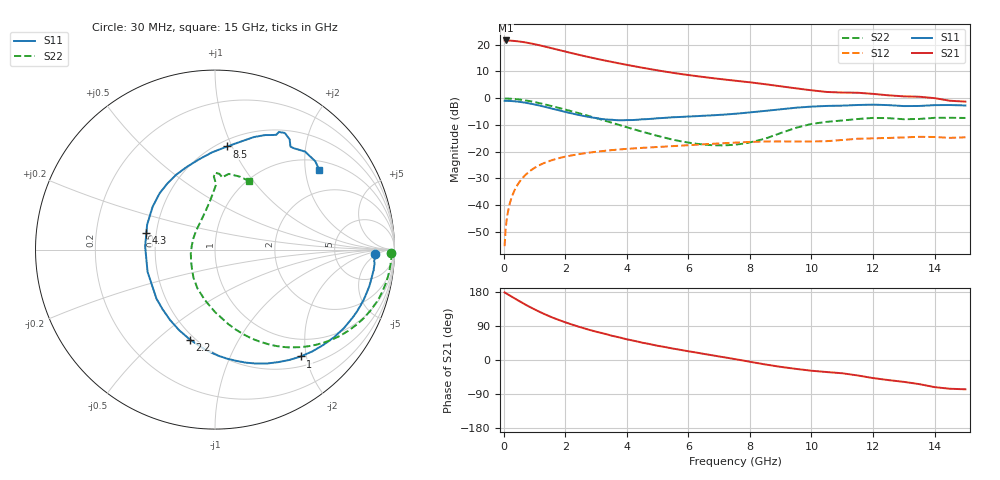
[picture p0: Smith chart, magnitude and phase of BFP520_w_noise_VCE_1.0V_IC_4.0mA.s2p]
! Infineon Technologies  Discrete & RF Semiconductors
! BFP520
! VCE =  1.0 V,  IC =  4.0 mA
! Common Emitter S-Parameters:  Oct 2015
# GHz  S  MA  R  50
!  f  S11  S21  S12  S22
! GHz  MAG  ANG  MAG  ANG  MAG  ANG  MAG  ANG
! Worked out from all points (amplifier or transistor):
!   109 points, 30 MHz to 15 GHz, reference 50 ohm
!   highest |S21| = 21.6 dB at 70 MHz (marker M1)
!   |S21| within 3 dB of that: start of sweep to 1.594 GHz
!   unconditionally stable (mu >= 1): 4.284 GHz to end of sweep
!   at 450 MHz: K = 0.10, MSG = 26.9 dB, |S12| = -32.4 dB
!   at 4 GHz: K = 0.95, MSG = 15.7 dB, |S12| = -19.0 dB
!   at 15 GHz: K = 1.45, MAG = 2.7 dB, |S12| = -14.6 dB
!   lowest NFmin = 1.09 dB at 900 MHz
!   S11 on the Smith chart (normalised r, x): 30 MHz: 17, -4; 1 GHz: 0.67, -1.90; 2.2 GHz: 0.47, -0.65; 4.3 GHz: 0.44, +0.09; 8.5 GHz: 0.56, +0.96; 15 GHz: 1.25, +2.38
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0.03  0.8933 -1.6  12.03 178.4  0.0017 89.2  0.9815 -1.0
0.07  0.8899 -3.6  12.04 176.1  0.0039 89.1  0.9828 -2.4
0.2  0.8865 -10.4  11.95 170.1  0.0108 84.7  0.9782 -7.2
0.35  0.8747 -18.4  11.78 162.9  0.0188 80.4  0.9655 -12.7
0.6  0.8412 -31.3  11.31 151.1  0.0315 73.5  0.9298 -21.5
0.8  0.8042 -41.3  10.8 142.0  0.0409 68.2  0.891 -28.2
1  0.7637 -51.2  10.26 133.7  0.0495 63.2  0.8463 -34.6
1.2  0.7191 -60.7  9.67 125.8  0.0572 58.7  0.7987 -40.4
1.5  0.6536 -74.6  8.793 115.0  0.0671 52.5  0.7261 -48.4
1.8  0.5926 -88.0  7.963 105.4  0.0756 47.2  0.6562 -55.6
2.2  0.5208 -105.5  6.995 94.0  0.0848 41.1  0.5709 -64.0
2.6  0.465 -122.7  6.177 83.9  0.0926 35.9  0.4939 -71.8
3  0.4255 -140.1  5.496 74.7  0.0994 31.3  0.424 -79.6
3.5  0.3956 -161.8  4.793 64.2  0.1067 26.0  0.3492 -89.8
4.3  0.3932 166.7  3.905 49.5  0.1156 18.6  0.2548 -108.7
5.1  0.424 143.3  3.247 36.2  0.1229 12.6  0.1906 -129.7
6  0.4541 125.7  2.713 23.0  0.132 6.6  0.1478 -154.3
7.6  0.516 98.3  2.101 1.1  0.1482 -5.0  0.1369 149.6
8.5  0.5787 83.2  1.825 -11.8  0.1547 -12.6  0.1752 117.3
10.5  0.7166 63.0  1.308 -31.8  0.1571 -23.5  0.3614 89.1
13  0.7117 53.8  1.082 -57.7  0.1844 -41.4  0.4038 84.1
15  0.7314 37.4  0.863 -77.3  0.1854 -56.0  0.4268 63.3
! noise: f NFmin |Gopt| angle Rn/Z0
0.45  1.12  0.53  3  0.34
0.9  1.09  0.51  11  0.35
1.9  1.34  0.42  23  0.3
2.4  1.4  0.38  35  0.29
3.5  1.35  0.36  58  0.27
